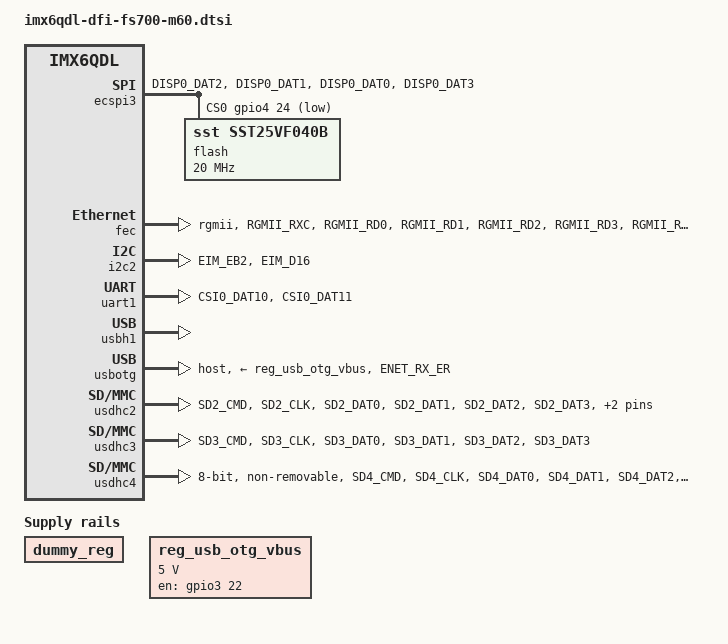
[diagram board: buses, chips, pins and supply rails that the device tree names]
// SPDX-License-Identifier: GPL-2.0
#include <dt-bindings/gpio/gpio.h>

/ {
	regulators {
		compatible = "simple-bus";
		#address-cells = <1>;
		#size-cells = <0>;

		dummy_reg: regulator@0 {
			compatible = "regulator-fixed";
			reg = <0>;
			regulator-name = "dummy-supply";
		};

		reg_usb_otg_vbus: regulator@1 {
			compatible = "regulator-fixed";
			reg = <1>;
			regulator-name = "usb_otg_vbus";
			regulator-min-microvolt = <5000000>;
			regulator-max-microvolt = <5000000>;
			gpio = <&gpio3 22 0>;
			enable-active-high;
		};
	};

	chosen {
		stdout-path = &uart1;
	};
};

&ecspi3 {
	cs-gpios = <&gpio4 24 GPIO_ACTIVE_LOW>;
	pinctrl-names = "default";
	pinctrl-0 = <&pinctrl_ecspi3>;
	status = "okay";

	flash: m25p80@0 {
		#address-cells = <1>;
		#size-cells = <1>;
		compatible = "sst,sst25vf040b", "jedec,spi-nor";
		spi-max-frequency = <20000000>;
		reg = <0>;
	};
};

&fec {
	pinctrl-names = "default";
	pinctrl-0 = <&pinctrl_enet>;
	status = "okay";
	phy-mode = "rgmii";
};

&iomuxc {
	pinctrl-names = "default";
	pinctrl-0 = <&pinctrl_hog>;

	imx6qdl-dfi-fs700-m60 {
		pinctrl_hog: hoggrp {
			fsl,pins = <
				MX6QDL_PAD_ENET_CRS_DV__GPIO1_IO25 0x80000000
				MX6QDL_PAD_GPIO_18__GPIO7_IO13 0x80000000 /* PMIC irq */
				MX6QDL_PAD_EIM_D26__GPIO3_IO26 0x80000000 /* MAX11801 irq */
				MX6QDL_PAD_NANDF_D5__GPIO2_IO05 0x000030b0 /* Backlight enable */
			>;
		};

		pinctrl_enet: enetgrp {
			fsl,pins = <
				MX6QDL_PAD_RGMII_RXC__RGMII_RXC		0x1b030
				MX6QDL_PAD_RGMII_RD0__RGMII_RD0		0x1b030
				MX6QDL_PAD_RGMII_RD1__RGMII_RD1		0x1b030
				MX6QDL_PAD_RGMII_RD2__RGMII_RD2		0x1b030
				MX6QDL_PAD_RGMII_RD3__RGMII_RD3		0x1b030
				MX6QDL_PAD_RGMII_RX_CTL__RGMII_RX_CTL	0x1b030
				MX6QDL_PAD_RGMII_TXC__RGMII_TXC		0x1b030
				MX6QDL_PAD_RGMII_TD0__RGMII_TD0		0x1b030
				MX6QDL_PAD_RGMII_TD1__RGMII_TD1		0x1b030
				MX6QDL_PAD_RGMII_TD2__RGMII_TD2		0x1b030
				MX6QDL_PAD_RGMII_TD3__RGMII_TD3		0x1b030
				MX6QDL_PAD_RGMII_TX_CTL__RGMII_TX_CTL	0x1b030
				MX6QDL_PAD_ENET_REF_CLK__ENET_TX_CLK	0x1b0b0
				MX6QDL_PAD_ENET_MDIO__ENET_MDIO		0x1b0b0
				MX6QDL_PAD_ENET_MDC__ENET_MDC		0x1b0b0
				MX6QDL_PAD_GPIO_16__ENET_REF_CLK	0x4001b0a8
			>;
		};

		pinctrl_i2c2: i2c2grp {
			fsl,pins = <
				MX6QDL_PAD_EIM_EB2__I2C2_SCL		0x4001b8b1
				MX6QDL_PAD_EIM_D16__I2C2_SDA		0x4001b8b1
			>;
		};

		pinctrl_uart1: uart1grp {
			fsl,pins = <
				MX6QDL_PAD_CSI0_DAT10__UART1_TX_DATA	0x1b0b1
				MX6QDL_PAD_CSI0_DAT11__UART1_RX_DATA	0x1b0b1
			>;
		};

		pinctrl_usbotg: usbotggrp {
			fsl,pins = <
				MX6QDL_PAD_ENET_RX_ER__USB_OTG_ID	0x17059
			>;
		};

		pinctrl_usdhc2: usdhc2grp {
			fsl,pins = <
				MX6QDL_PAD_SD2_CMD__SD2_CMD		0x17059
				MX6QDL_PAD_SD2_CLK__SD2_CLK		0x10059
				MX6QDL_PAD_SD2_DAT0__SD2_DATA0		0x17059
				MX6QDL_PAD_SD2_DAT1__SD2_DATA1		0x17059
				MX6QDL_PAD_SD2_DAT2__SD2_DATA2		0x17059
				MX6QDL_PAD_SD2_DAT3__SD2_DATA3		0x17059
				MX6QDL_PAD_NANDF_D2__GPIO2_IO02 0x80000000 /* card detect */
			>;
		};

		pinctrl_usdhc3: usdhc3grp {
			fsl,pins = <
				MX6QDL_PAD_SD3_CMD__SD3_CMD		0x17059
				MX6QDL_PAD_SD3_CLK__SD3_CLK		0x10059
				MX6QDL_PAD_SD3_DAT0__SD3_DATA0		0x17059
				MX6QDL_PAD_SD3_DAT1__SD3_DATA1		0x17059
				MX6QDL_PAD_SD3_DAT2__SD3_DATA2		0x17059
				MX6QDL_PAD_SD3_DAT3__SD3_DATA3		0x17059
			>;
		};

		pinctrl_usdhc4: usdhc4grp {
			fsl,pins = <
				MX6QDL_PAD_SD4_CMD__SD4_CMD		0x17059
				MX6QDL_PAD_SD4_CLK__SD4_CLK		0x10059
				MX6QDL_PAD_SD4_DAT0__SD4_DATA0		0x17059
				MX6QDL_PAD_SD4_DAT1__SD4_DATA1		0x17059
				MX6QDL_PAD_SD4_DAT2__SD4_DATA2		0x17059
				MX6QDL_PAD_SD4_DAT3__SD4_DATA3		0x17059
				MX6QDL_PAD_SD4_DAT4__SD4_DATA4		0x17059
				MX6QDL_PAD_SD4_DAT5__SD4_DATA5		0x17059
				MX6QDL_PAD_SD4_DAT6__SD4_DATA6		0x17059
				MX6QDL_PAD_SD4_DAT7__SD4_DATA7		0x17059
			>;
		};

		pinctrl_ecspi3: ecspi3grp {
			fsl,pins = <
				MX6QDL_PAD_DISP0_DAT2__ECSPI3_MISO	0x100b1
				MX6QDL_PAD_DISP0_DAT1__ECSPI3_MOSI	0x100b1
				MX6QDL_PAD_DISP0_DAT0__ECSPI3_SCLK	0x100b1
				MX6QDL_PAD_DISP0_DAT3__GPIO4_IO24 0x80000000 /* SPI NOR chipselect */
			>;
		};
	};
};

&i2c2 {
	pinctrl-names = "default";
	pinctrl-0 = <&pinctrl_i2c2>;
	status = "okay";
};

&uart1 {
	pinctrl-names = "default";
	pinctrl-0 = <&pinctrl_uart1>;
	status = "okay";
};

&usbh1 {
	status = "okay";
};

&usbotg {
	vbus-supply = <&reg_usb_otg_vbus>;
	pinctrl-names = "default";
	pinctrl-0 = <&pinctrl_usbotg>;
	disable-over-current;
	dr_mode = "host";
	status = "okay";
};

&usdhc2 { /* module slot */
	pinctrl-names = "default";
	pinctrl-0 = <&pinctrl_usdhc2>;
	cd-gpios = <&gpio2 2 GPIO_ACTIVE_LOW>;
	status = "okay";
};

&usdhc3 { /* baseboard slot */
	pinctrl-names = "default";
	pinctrl-0 = <&pinctrl_usdhc3>;
};

&usdhc4 { /* eMMC */
	pinctrl-names = "default";
	pinctrl-0 = <&pinctrl_usdhc4>;
	bus-width = <8>;
	non-removable;
	status = "okay";
};
